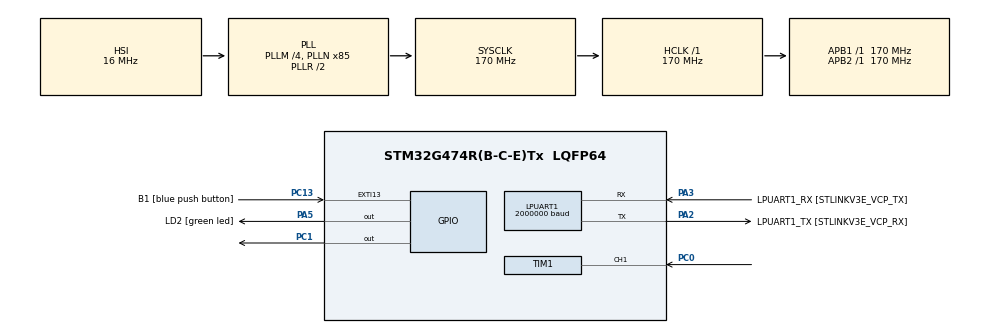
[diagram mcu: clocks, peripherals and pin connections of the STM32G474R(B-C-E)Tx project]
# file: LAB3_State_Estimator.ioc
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ARM.CMSIS.5.7.0.CMSISJjCORE=true
ARM.CMSIS.5.7.0.CMSISJjDSP=Library
Dma.LPUART1_RX.0.Direction=DMA_PERIPH_TO_MEMORY
Dma.LPUART1_RX.0.EventEnable=DISABLE
Dma.LPUART1_RX.0.Instance=DMA1_Channel1
Dma.LPUART1_RX.0.MemDataAlignment=DMA_MDATAALIGN_BYTE
Dma.LPUART1_RX.0.MemInc=DMA_MINC_ENABLE
Dma.LPUART1_RX.0.Mode=DMA_CIRCULAR
Dma.LPUART1_RX.0.PeriphDataAlignment=DMA_PDATAALIGN_BYTE
Dma.LPUART1_RX.0.PeriphInc=DMA_PINC_DISABLE
Dma.LPUART1_RX.0.Polarity=HAL_DMAMUX_REQ_GEN_RISING
Dma.LPUART1_RX.0.Priority=DMA_PRIORITY_LOW
Dma.LPUART1_RX.0.RequestNumber=1
Dma.LPUART1_RX.0.SignalID=NONE
Dma.LPUART1_RX.0.SyncEnable=DISABLE
Dma.LPUART1_RX.0.SyncPolarity=HAL_DMAMUX_SYNC_NO_EVENT
Dma.LPUART1_RX.0.SyncRequestNumber=1
Dma.LPUART1_RX.0.SyncSignalID=NONE
Dma.LPUART1_TX.1.Direction=DMA_MEMORY_TO_PERIPH
Dma.LPUART1_TX.1.EventEnable=DISABLE
Dma.LPUART1_TX.1.Instance=DMA1_Channel2
Dma.LPUART1_TX.1.MemDataAlignment=DMA_MDATAALIGN_BYTE
Dma.LPUART1_TX.1.MemInc=DMA_MINC_ENABLE
Dma.LPUART1_TX.1.Mode=DMA_NORMAL
Dma.LPUART1_TX.1.PeriphDataAlignment=DMA_PDATAALIGN_BYTE
Dma.LPUART1_TX.1.PeriphInc=DMA_PINC_DISABLE
Dma.LPUART1_TX.1.Polarity=HAL_DMAMUX_REQ_GEN_RISING
Dma.LPUART1_TX.1.Priority=DMA_PRIORITY_LOW
Dma.LPUART1_TX.1.RequestNumber=1
Dma.LPUART1_TX.1.SignalID=NONE
Dma.LPUART1_TX.1.SyncEnable=DISABLE
Dma.LPUART1_TX.1.SyncPolarity=HAL_DMAMUX_SYNC_NO_EVENT
Dma.LPUART1_TX.1.SyncRequestNumber=1
Dma.LPUART1_TX.1.SyncSignalID=NONE
Dma.Request0=LPUART1_RX
Dma.Request1=LPUART1_TX
LPUART1.BaudRate=2000000
Mcu.Family=STM32G4
Mcu.Name=STM32G474R(B-C-E)Tx
Mcu.Package=LQFP64
NVIC.DMA1_Channel1_IRQn=true\:0\:0\:false\:false\:true\:false\:true\:true
NVIC.DMA1_Channel2_IRQn=true\:0\:0\:false\:false\:true\:false\:true\:true
NVIC.EXTI15_10_IRQn=true\:0\:0\:false\:false\:true\:true\:true\:true
NVIC.LPUART1_IRQn=true\:0\:0\:false\:false\:true\:true\:true\:true
NVIC.PriorityGroup=NVIC_PRIORITYGROUP_4
NVIC.TIM1_CC_IRQn=true\:0\:0\:false\:false\:true\:true\:true\:true
NVIC.TIM3_IRQn=true\:0\:0\:false\:false\:true\:true\:true\:true
NVIC.TIM6_DAC_IRQn=true\:0\:0\:false\:false\:true\:true\:true\:true
PA13.GPIO_Label=T_SWDIO
PA13.Signal=SYS_JTMS-SWDIO
PA14.GPIO_Label=T_SWCLK
PA14.Signal=SYS_JTCK-SWCLK
PA2.GPIO_Label=LPUART1_TX [STLINKV3E_VCP_RX]
PA2.Mode=Asynchronous
PA2.Signal=LPUART1_TX
PA3.GPIO_Label=LPUART1_RX [STLINKV3E_VCP_TX]
PA3.Mode=Asynchronous
PA3.Signal=LPUART1_RX
PA5.GPIO_Label=LD2 [green led]
PA5.Signal=GPIO_Output
PB3.GPIO_Label=T_SWO
PB3.Signal=SYS_JTDO-SWO
PC0.Signal=S_TIM1_CH1
PC1.Signal=GPIO_Output
PC13.GPIO_Label=B1 [blue push button]
PC13.Signal=GPXTI13
PC14-OSC32_IN.GPIO_Label=RCC_OSC32_IN
PC14-OSC32_IN.Signal=RCC_OSC32_IN
PC15-OSC32_OUT.GPIO_Label=RCC_OSC32_OUT
PC15-OSC32_OUT.Signal=RCC_OSC32_OUT
PF0-OSC_IN.GPIO_Label=RCC_OSC_IN
PF0-OSC_IN.Signal=RCC_OSC_IN
PF1-OSC_OUT.GPIO_Label=RCC_OSC_OUT
PF1-OSC_OUT.Signal=RCC_OSC_OUT
ProjectManager.HeapSize=0x200
ProjectManager.StackSize=0x400
ProjectManager.TargetToolchain=STM32CubeIDE
RCC.ADC12Freq_Value=170000000
RCC.ADC345Freq_Value=170000000
RCC.AHBFreq_Value=170000000
RCC.APB1Freq_Value=170000000
RCC.APB1TimFreq_Value=170000000
RCC.APB2Freq_Value=170000000
RCC.APB2TimFreq_Value=170000000
RCC.CortexFreq_Value=170000000
RCC.EXTERNAL_CLOCK_VALUE=12288000
RCC.HCLKFreq_Value=170000000
RCC.HSE_VALUE=24000000
RCC.HSI48_VALUE=48000000
RCC.HSI_VALUE=16000000
RCC.LSE_VALUE=32768
RCC.PLLM=RCC_PLLM_DIV4
RCC.PLLN=85
RCC.RTCClockSelection=RCC_RTCCLKSOURCE_LSE
RCC.SYSCLKFreq_VALUE=170000000
RCC.SYSCLKSource=RCC_SYSCLKSOURCE_PLLCLK
RCC.USBFreq_Value=170000000
RCC.VCOOutputFreq_Value=340000000
SH.S_TIM1_CH1.0=TIM1_CH1,Input_Capture1_from_TI1
TIM1.Channel-Input_Capture1_from_TI1=TIM_CHANNEL_1
TIM1.Channel-Input_Capture2_from_TI1_63=TIM_CHANNEL_2
TIM1.ICPolarity_CH2=TIM_INPUTCHANNELPOLARITY_FALLING
TIM1.Prescaler=169
TIM3.PeriodNoDither=9999
TIM3.Prescaler=169
TIM6.PeriodNoDither=59999
TIM6.Prescaler=169
VP_ARM.CMSIS_VS_CMSISJjCORE_5.4.0_5.7.0.Mode=CMSISJjCORE
VP_ARM.CMSIS_VS_CMSISJjDSP_1.8.0_5.7.0.Mode=CMSISJjDSP
VP_SYS_VS_DBSignals.Mode=DisableDeadBatterySignals
VP_TIM1_VS_ClockSourceINT.Mode=Internal
VP_TIM1_VS_indirect_ch1.Mode=Input_Capture2_from_TI1_63
VP_TIM3_VS_ClockSourceINT.Mode=Internal
VP_TIM6_VS_ClockSourceINT.Mode=Enable_Timer
board=NUCLEO-G474RE

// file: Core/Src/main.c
/* USER CODE BEGIN Header */
/**
 ******************************************************************************
 * @file           : main.c
 * @brief          : Main program body
 ******************************************************************************
 * @attention
 *
 * Copyright (c) 2026 STMicroelectronics.
 * All rights reserved.
 *
 * This software is licensed under terms that can be found in the LICENSE file
 * in the root directory of this software component.
 * If no LICENSE file comes with this software, it is provided AS-IS.
 *
 ******************************************************************************
 */
/* USER CODE END Header */

/* =============================================================================
 *  Mode Summary
 * =============================================================================
 *
 *  Mode 1  CD   — vary q (scalar),  fixed R = R_nom
 *  Mode 2  CVD  — vary σ_a,         fixed R = R_nom
 *  Mode 3  CAD  — vary σ_a,         fixed R = R_nom
 *
 *  Mode 4  MSD  — vary Q, fixed R = R_nom
 *  Mode 5  MSD  — vary R, fixed Q = Q_fix
 *
 *  ─── Q/R Ratio design ────────────────────────────────────────────────────
 *
 *  R_nom = 7.5e-7 m²   (from HC-SR04 resolution: R = Δ²/12, Δ = 3 mm)
 *  Q_fix = 1.0e-9 m²   (anchor Q for Mode 5)
 *
 *  Target Q/R ratios: { 1e-1, 1e-3, 1e-5 }
 *
 *  Mode 4 — fixed R = R_nom, vary Q to hit each ratio:
 *    KF1: Q = R_nom × 1e-1 = 7.5e-8   → Q/R = 1e-1
 *    KF2: Q = R_nom × 1e-3 = 7.5e-10  → Q/R = 1e-3
 *    KF3: Q = R_nom × 1e-5 = 7.5e-12  → Q/R = 1e-5
 *
 *  Mode 5 — fixed Q = Q_fix, vary R to hit each ratio:
 *    KF1: R = Q_fix / 1e-1 = 1.0e-8   → Q/R = 1e-1
 *    KF2: R = Q_fix / 1e-3 = 1.0e-6   → Q/R = 1e-3
 *    KF3: R = Q_fix / 1e-5 = 1.0e-4   → Q/R = 1e-5
 *
 *  => Mode 4 KF_n and Mode 5 KF_n share the same Q/R → output should be
 *     theoretically identical. Any difference reveals floating-point or
 *     numerical effects on the STM32.
 *
 *  Outputs (Modes 4 & 5):
 *    KF_Out_1/2/3 — filtered position  [m]
 *    KF_Vel_1/2/3 — estimated velocity [m/s]
 * =============================================================================
 */

#include "main.h"
#include "dma.h"
#include "usart.h"
#include "tim.h"
#include "gpio.h"

/* USER CODE BEGIN Includes */
#include "Ultrasonic.h"
#include "SerialFrame.h"
#include "KalmanFilterCD.h"
#include "KalmanFilterCVD.h"
#include "KalmanFilterCAD.h"
#include "KalmanFilterMSD.h"
#include "Config.h"
/* USER CODE END Includes */

/* USER CODE BEGIN PD */
#define SAMPLE_DT   0.01f   /* 100 Hz            */
#define Gravity     9.81f   /* m/s²              */
/* USER CODE END PD */

/* USER CODE BEGIN PV */

/* ── Filter instances ────────────────────────────────────────────────── */
static KalmanFilterCD_t  KF_CD[3];
static KalmanFilterCVD_t KF_CVD[3];
static KalmanFilterCAD_t KF_CAD[3];
static KalmanFilterMSD_t KF_MSD_VQ[3];   /* Mode 4: vary Q, fixed R */
static KalmanFilterMSD_t KF_MSD_VR[3];   /* Mode 5: fixed Q, vary R */

/* ── Sensor & comms ──────────────────────────────────────────────────── */
static Ultrasonic_t  Sensor;
static SerialFrame_t Frame;

/* ── Application state ───────────────────────────────────────────────── */
static int16_t Mode         = 0;
static float   Calib_Height = 0.0f;
static float   Mass         = 0.3043f;    /* kg    */
static float   Damping      = 0.04093f;   /* Ns/m  */
static float   Spring_K     = 30.387f;    /* N/m   */

/* TX — position (all modes) */
static float Raw_Pos  = 0.0f;
static float KF_Out_1 = 0.0f;
static float KF_Out_2 = 0.0f;
static float KF_Out_3 = 0.0f;

/* TX — velocity (modes 4 & 5 only, zero otherwise) */
static float KF_Vel_1 = 0.0f;
static float KF_Vel_2 = 0.0f;
static float KF_Vel_3 = 0.0f;

/* USER CODE END PV */

void SystemClock_Config(void);
/* USER CODE BEGIN PFP */
static void Init(void);
static void Update(void);
/* USER CODE END PFP */

int main(void) {
    HAL_Init();
    SystemClock_Config();
    MX_GPIO_Init();
    MX_DMA_Init();
    MX_TIM1_Init();
    MX_TIM6_Init();
    MX_TIM3_Init();
    MX_LPUART1_UART_Init();
    /* USER CODE BEGIN 2 */
    Init();
    /* USER CODE END 2 */
    while (1) {}
}

void SystemClock_Config(void) {
    RCC_OscInitTypeDef RCC_OscInitStruct = {0};
    RCC_ClkInitTypeDef RCC_ClkInitStruct = {0};
    HAL_PWREx_ControlVoltageScaling(PWR_REGULATOR_VOLTAGE_SCALE1_BOOST);
    RCC_OscInitStruct.OscillatorType      = RCC_OSCILLATORTYPE_HSI;
    RCC_OscInitStruct.HSIState            = RCC_HSI_ON;
    RCC_OscInitStruct.HSICalibrationValue = RCC_HSICALIBRATION_DEFAULT;
    RCC_OscInitStruct.PLL.PLLState        = RCC_PLL_ON;
    RCC_OscInitStruct.PLL.PLLSource       = RCC_PLLSOURCE_HSI;
    RCC_OscInitStruct.PLL.PLLM            = RCC_PLLM_DIV4;
    RCC_OscInitStruct.PLL.PLLN            = 85;
    RCC_OscInitStruct.PLL.PLLP            = RCC_PLLP_DIV2;
    RCC_OscInitStruct.PLL.PLLQ            = RCC_PLLQ_DIV2;
    RCC_OscInitStruct.PLL.PLLR            = RCC_PLLR_DIV2;
    if (HAL_RCC_OscConfig(&RCC_OscInitStruct) != HAL_OK) Error_Handler();
    RCC_ClkInitStruct.ClockType      = RCC_CLOCKTYPE_HCLK | RCC_CLOCKTYPE_SYSCLK
                                     | RCC_CLOCKTYPE_PCLK1 | RCC_CLOCKTYPE_PCLK2;
    RCC_ClkInitStruct.SYSCLKSource   = RCC_SYSCLKSOURCE_PLLCLK;
    RCC_ClkInitStruct.AHBCLKDivider  = RCC_SYSCLK_DIV1;
    RCC_ClkInitStruct.APB1CLKDivider = RCC_HCLK_DIV1;
    RCC_ClkInitStruct.APB2CLKDivider = RCC_HCLK_DIV1;
    if (HAL_RCC_ClockConfig(&RCC_ClkInitStruct, FLASH_LATENCY_4) != HAL_OK) Error_Handler();
}

/* USER CODE BEGIN 4 */

/* ============================================================
 *  Init
 * ============================================================ */
static void Init(void)
{
    /* ── Ultrasonic ─────────────────────────────────────────── */
    Ultrasonic_Config_t s_cfg = {
        .Trig_Port     = ULTRASONIC_TRIG_PORT,
        .Trig_Pin      = ULTRASONIC_TRIG_PIN,
        .Trigger_Timer = ULTRASONIC_TRIGGER_HTIM,
        .Echo_Timer    = ULTRASONIC_ECHO_HTIM,
        .Echo_Ch_Rise  = ULTRASONIC_TIM_CHANNEL_1,
        .Echo_Ch_Fall  = ULTRASONIC_TIM_CHANNEL_2,
    };
    Ultrasonic_Init(&Sensor, &s_cfg);
    HAL_TIM_Base_Start_IT(OBSERVER_HTIM);

    /* ── Serial frame ───────────────────────────────────────── */
    SerialFrame_Init(&Frame, &hlpuart1, 0x44, 'Y');
    SerialFrame_Add_TX(&Frame, "Raw",   &Raw_Pos,  SF_FLOAT);
    SerialFrame_Add_TX(&Frame, "KF_1",  &KF_Out_1, SF_FLOAT);
    SerialFrame_Add_TX(&Frame, "KF_2",  &KF_Out_2, SF_FLOAT);
    SerialFrame_Add_TX(&Frame, "KF_3",  &KF_Out_3, SF_FLOAT);
    SerialFrame_Add_TX(&Frame, "Vel_1", &KF_Vel_1, SF_FLOAT);
    SerialFrame_Add_TX(&Frame, "Vel_2", &KF_Vel_2, SF_FLOAT);
    SerialFrame_Add_TX(&Frame, "Vel_3", &KF_Vel_3, SF_FLOAT);
    SerialFrame_Add_RX(&Frame, "Mass",     &Mass,         SF_FLOAT);
    SerialFrame_Add_RX(&Frame, "Damping",  &Damping,      SF_FLOAT);
    SerialFrame_Add_RX(&Frame, "Spring_K", &Spring_K,     SF_FLOAT);
    SerialFrame_Add_RX(&Frame, "H_calib",  &Calib_Height, SF_FLOAT);
    SerialFrame_Add_RX(&Frame, "Mode",     &Mode,         SF_INT16);
    SerialFrame_Receive(&Frame, &hlpuart1);

    /* ── Noise anchor ───────────────────────────────────────────────────
     *  R_nom = Δ²/12 = (3e-3)²/12 = 7.5e-7 m²  (HC-SR04, Δ = 3 mm)
     *  Q_fix = 1.0e-9 m²  (fixed Q used in Mode 5)
     * ──────────────────────────────────────────────────────────────── */
    const float R_nom = 7.5e-7f;
    const float Q_fix = 1.0e-9f;

    /* ── Target Q/R ratios (shared by Mode 4 & Mode 5) ─────────────────
     *  ratio[0] = 1e-1  (high  Q/R → responsive)
     *  ratio[1] = 1e-3  (mid   Q/R → balanced)
     *  ratio[2] = 1e-5  (low   Q/R → smooth)
     * ──────────────────────────────────────────────────────────────── */
    const float ratio[3] = { 1.0e-1f, 1.0e-3f, 1.0e-5f };

    /* ── Mode 1: KalmanFilterCD  (vary q, fixed R) ──────────── */
    const float cd_q[3] = { 7.5e-8f, 7.5e-9f, 7.5e-10f };
    for (int i = 0; i < 3; i++) {
        KalmanFilterCD_Init(&KF_CD[i]);
        KalmanFilterCD_Set_ProcessNoise(&KF_CD[i], cd_q[i]);
        KalmanFilterCD_Set_MeasurementNoise(&KF_CD[i], R_nom);
        KalmanFilterCD_Set_Covariance(&KF_CD[i], 1.0f);
        KalmanFilterCD_Start(&KF_CD[i], 0.0f);
    }

    /* ── Mode 2: KalmanFilterCVD  (vary σ_a, fixed R) ──────── */
    const float Var_acc[3] = { 1.0e-1f, 1.0e-3f, 1.0e-5f };
    for (int i = 0; i < 3; i++) {
        KalmanFilterCVD_Init(&KF_CVD[i]);
        KalmanFilterCVD_Set_ObserverPeriod(&KF_CVD[i], SAMPLE_DT);
        KalmanFilterCVD_Set_ProcessNoise(&KF_CVD[i], Var_acc[i]);
        KalmanFilterCVD_Set_MeasurementNoise(&KF_CVD[i], R_nom);
        KalmanFilterCVD_Set_Covariance(&KF_CVD[i], 1.0f, 1.0f);
        KalmanFilterCVD_Start(&KF_CVD[i], 0.0f, 0.0f);
    }

    /* ── Mode 3: KalmanFilterCAD  (vary σ_a, fixed R) ──────── */
    for (int i = 0; i < 3; i++) {
        KalmanFilterCAD_Init(&KF_CAD[i]);
        KalmanFilterCAD_Set_ObserverPeriod(&KF_CAD[i], SAMPLE_DT);
        KalmanFilterCAD_Set_ProcessNoise(&KF_CAD[i], Var_acc[i]);
        KalmanFilterCAD_Set_MeasurementNoise(&KF_CAD[i], R_nom);
        KalmanFilterCAD_Set_Covariance(&KF_CAD[i], 1.0f, 1.0f, 1.0f);
        KalmanFilterCAD_Start(&KF_CAD[i], 0.0f, 0.0f, 0.0f);
    }

    /* ── Mode 4: MSD — fixed R = R_nom, vary Q ──────────────────────────
     *  Q[i] = R_nom × ratio[i]  → same Q/R as Mode 5
     *
     *  KF1: Q = 7.5e-8,  R = 7.5e-7  → Q/R = 1e-1
     *  KF2: Q = 7.5e-10, R = 7.5e-7  → Q/R = 1e-3
     *  KF3: Q = 7.5e-12, R = 7.5e-7  → Q/R = 1e-5
     * ──────────────────────────────────────────────────────────────── */
    for (int i = 0; i < 3; i++) {
        float q = R_nom * ratio[i];   /* Q = R_nom × target ratio */
        KalmanFilterMSD_Init(&KF_MSD_VQ[i], Mass, Damping, Spring_K);
        KalmanFilterMSD_Set_ObserverPeriod(&KF_MSD_VQ[i], SAMPLE_DT);
        KalmanFilterMSD_Set_ProcessNoise(&KF_MSD_VQ[i], q, q);
        KalmanFilterMSD_Set_MeasurementNoise(&KF_MSD_VQ[i], R_nom);
        KalmanFilterMSD_Set_Covariance(&KF_MSD_VQ[i], 1.0f, 1.0f);
        KalmanFilterMSD_Start(&KF_MSD_VQ[i], 0.0f, 0.0f);
    }

    /* ── Mode 5: MSD — fixed Q = Q_fix, vary R ──────────────────────────
     *  R[i] = Q_fix / ratio[i]  → same Q/R as Mode 4
     *
     *  KF1: Q = 1e-9, R = 1e-8   → Q/R = 1e-1
     *  KF2: Q = 1e-9, R = 1e-6   → Q/R = 1e-3
     *  KF3: Q = 1e-9, R = 1e-4   → Q/R = 1e-5
     * ──────────────────────────────────────────────────────────────── */
    for (int i = 0; i < 3; i++) {
        float r = Q_fix / ratio[i];   /* R = Q_fix / target ratio */
        KalmanFilterMSD_Init(&KF_MSD_VR[i], Mass, Damping, Spring_K);
        KalmanFilterMSD_Set_ObserverPeriod(&KF_MSD_VR[i], SAMPLE_DT);
        KalmanFilterMSD_Set_ProcessNoise(&KF_MSD_VR[i], Q_fix, Q_fix);
        KalmanFilterMSD_Set_MeasurementNoise(&KF_MSD_VR[i], r);
        KalmanFilterMSD_Set_Covariance(&KF_MSD_VR[i], 1.0f, 1.0f);
        KalmanFilterMSD_Start(&KF_MSD_VR[i], 0.0f, 0.0f);
    }
}

/* ============================================================
 *  Update — 100 Hz
 * ============================================================ */
static void Update(void)
{
    Raw_Pos  = Calib_Height - (Sensor.Distance_mm * 0.001f);
    KF_Vel_1 = 0.0f;
    KF_Vel_2 = 0.0f;
    KF_Vel_3 = 0.0f;

    switch (Mode) {

        /* ── Mode 1: CD ───────────────────────────────────────── */
        case 1:
            KalmanFilterCD_Update(&KF_CD[0], Raw_Pos);
            KalmanFilterCD_Update(&KF_CD[1], Raw_Pos);
            KalmanFilterCD_Update(&KF_CD[2], Raw_Pos);
            KF_Out_1 = KalmanFilterCD_Get_State(&KF_CD[0]);
            KF_Out_2 = KalmanFilterCD_Get_State(&KF_CD[1]);
            KF_Out_3 = KalmanFilterCD_Get_State(&KF_CD[2]);
            break;

        /* ── Mode 2: CVD ──────────────────────────────────────── */
        case 2:
            KalmanFilterCVD_Update(&KF_CVD[0], Raw_Pos);
            KalmanFilterCVD_Update(&KF_CVD[1], Raw_Pos);
            KalmanFilterCVD_Update(&KF_CVD[2], Raw_Pos);
            KF_Out_1 = KalmanFilterCVD_Get_Position(&KF_CVD[0]);
            KF_Out_2 = KalmanFilterCVD_Get_Position(&KF_CVD[1]);
            KF_Out_3 = KalmanFilterCVD_Get_Position(&KF_CVD[2]);
            break;

        /* ── Mode 3: CAD ──────────────────────────────────────── */
        case 3:
            KalmanFilterCAD_Update(&KF_CAD[0], Raw_Pos);
            KalmanFilterCAD_Update(&KF_CAD[1], Raw_Pos);
            KalmanFilterCAD_Update(&KF_CAD[2], Raw_Pos);
            KF_Out_1 = KalmanFilterCAD_Get_Position(&KF_CAD[0]);
            KF_Out_2 = KalmanFilterCAD_Get_Position(&KF_CAD[1]);
            KF_Out_3 = KalmanFilterCAD_Get_Position(&KF_CAD[2]);
            break;

        /* ── Mode 4: MSD — fixed R, vary Q ───────────────────────
         *  KF1: Q/R = 1e-1  (responsive)
         *  KF2: Q/R = 1e-3  (balanced)
         *  KF3: Q/R = 1e-5  (smooth)
         * ───────────────────────────────────────────────────────── */
        case 4:
            KalmanFilterMSD_Update(&KF_MSD_VQ[0], Raw_Pos);
            KalmanFilterMSD_Update(&KF_MSD_VQ[1], Raw_Pos);
            KalmanFilterMSD_Update(&KF_MSD_VQ[2], Raw_Pos);
            KF_Out_1 = KalmanFilterMSD_Get_Position(&KF_MSD_VQ[0]);
            KF_Out_2 = KalmanFilterMSD_Get_Position(&KF_MSD_VQ[1]);
            KF_Out_3 = KalmanFilterMSD_Get_Position(&KF_MSD_VQ[2]);
            KF_Vel_1 = KalmanFilterMSD_Get_Velocity(&KF_MSD_VQ[0]);
            KF_Vel_2 = KalmanFilterMSD_Get_Velocity(&KF_MSD_VQ[1]);
            KF_Vel_3 = KalmanFilterMSD_Get_Velocity(&KF_MSD_VQ[2]);
            break;

        /* ── Mode 5: MSD — fixed Q, vary R ───────────────────────
         *  KF1: Q/R = 1e-1  (same ratio as Mode 4 KF1)
         *  KF2: Q/R = 1e-3  (same ratio as Mode 4 KF2)
         *  KF3: Q/R = 1e-5  (same ratio as Mode 4 KF3)
         * ───────────────────────────────────────────────────────── */
        case 5:
            KalmanFilterMSD_Update(&KF_MSD_VR[0], Raw_Pos);
            KalmanFilterMSD_Update(&KF_MSD_VR[1], Raw_Pos);
            KalmanFilterMSD_Update(&KF_MSD_VR[2], Raw_Pos);
            KF_Out_1 = KalmanFilterMSD_Get_Position(&KF_MSD_VR[0]);
            KF_Out_2 = KalmanFilterMSD_Get_Position(&KF_MSD_VR[1]);
            KF_Out_3 = KalmanFilterMSD_Get_Position(&KF_MSD_VR[2]);
            KF_Vel_1 = KalmanFilterMSD_Get_Velocity(&KF_MSD_VR[0]);
            KF_Vel_2 = KalmanFilterMSD_Get_Velocity(&KF_MSD_VR[1]);
            KF_Vel_3 = KalmanFilterMSD_Get_Velocity(&KF_MSD_VR[2]);
            break;

        default: break;
    }

    SerialFrame_Transmit(&Frame);
}

/* ============================================================
 *  Interrupt handlers
 * ============================================================ */
void HAL_TIM_PeriodElapsedCallback(TIM_HandleTypeDef *htim) {
    Ultrasonic_TimerElapsed_Handler(&Sensor, htim);
    if (htim == OBSERVER_HTIM) Update();
}

void HAL_UART_RxCpltCallback(UART_HandleTypeDef *huart) {
    SerialFrame_Receive(&Frame, huart);
}

void HAL_TIM_IC_CaptureCallback(TIM_HandleTypeDef *htim) {
    Ultrasonic_IC_Capture_Handler(&Sensor, htim);
}

/* USER CODE END 4 */

void Error_Handler(void) {
    __disable_irq();
    while (1) {}
}
